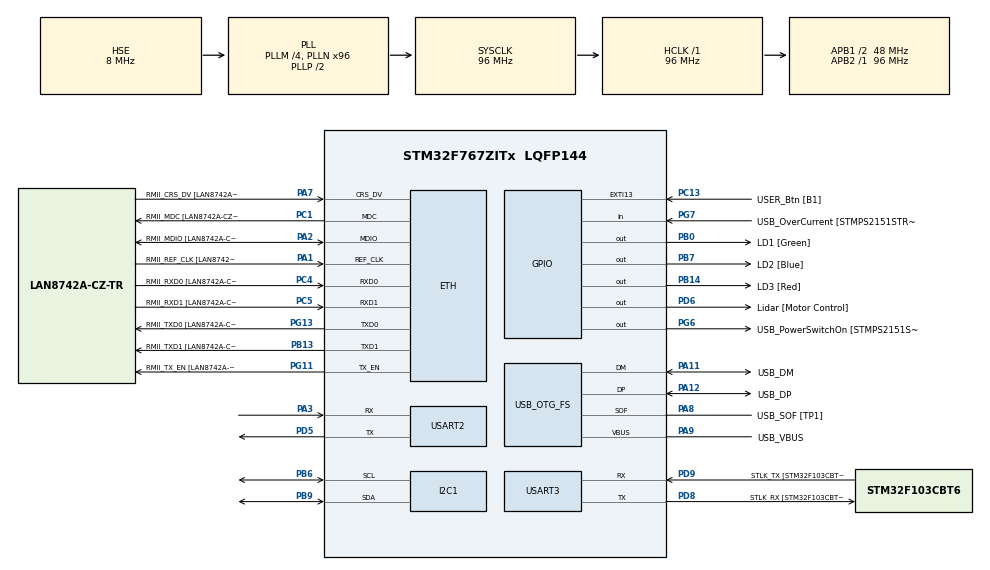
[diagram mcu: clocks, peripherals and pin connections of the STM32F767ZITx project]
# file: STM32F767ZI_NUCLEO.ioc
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ETH.MediaInterface=ETH_MEDIA_INTERFACE_RMII
ETH.PHY_Name=LAN8742A_PHY_ADDRESS
ETH.PHY_Value=0
ETH.PhyAddress=0
I2C1.Timing=0x20303E5D
Mcu.Family=STM32F7
Mcu.Name=STM32F767ZITx
Mcu.Package=LQFP144
NVIC.EXTI15_10_IRQn=true\:0\:0\:false\:false\:true\:true\:true
NVIC.I2C1_ER_IRQn=true\:0\:0\:false\:false\:true\:true\:true
NVIC.I2C1_EV_IRQn=true\:0\:0\:false\:false\:true\:true\:true
NVIC.PriorityGroup=NVIC_PRIORITYGROUP_4
NVIC.TIM1_UP_TIM10_IRQn=true\:0\:0\:false\:false\:true\:true\:true
NVIC.TIM3_IRQn=true\:0\:0\:false\:false\:true\:true\:true
NVIC.TIM4_IRQn=true\:0\:0\:false\:false\:true\:true\:true
NVIC.TIM6_DAC_IRQn=true\:0\:0\:false\:false\:true\:false\:true
NVIC.TIM7_IRQn=true\:0\:0\:false\:false\:true\:true\:true
NVIC.TimeBase=TIM6_DAC_IRQn
NVIC.TimeBaseIP=TIM6
NVIC.USART2_IRQn=true\:0\:0\:false\:false\:true\:true\:true
NVIC.USART3_IRQn=true\:0\:0\:false\:false\:true\:true\:true
PA1.GPIO_Label=RMII_REF_CLK [LAN8742A-CZ-TR_REFCLK0]
PA1.Mode=RMII
PA1.Signal=ETH_REF_CLK
PA10.GPIO_Label=USB_ID
PA10.Signal=USB_OTG_FS_ID
PA11.GPIO_Label=USB_DM
PA11.Mode=Device_Only
PA11.Signal=USB_OTG_FS_DM
PA12.GPIO_Label=USB_DP
PA12.Mode=Device_Only
PA12.Signal=USB_OTG_FS_DP
PA13.GPIO_Label=TMS
PA13.Mode=Serial_Wire
PA13.Signal=SYS_JTMS-SWDIO
PA14.GPIO_Label=TCK
PA14.Mode=Serial_Wire
PA14.Signal=SYS_JTCK-SWCLK
PA2.GPIO_Label=RMII_MDIO [LAN8742A-CZ-TR_MDIO]
PA2.Mode=RMII
PA2.Signal=ETH_MDIO
PA3.Mode=Asynchronous
PA3.Signal=USART2_RX
PA7.GPIO_Label=RMII_CRS_DV [LAN8742A-CZ-TR_CRS_DV]
PA7.Mode=RMII
PA7.Signal=ETH_CRS_DV
PA8.GPIO_Label=USB_SOF [TP1]
PA8.Mode=Activate_SOF_FS
PA8.Signal=USB_OTG_FS_SOF
PA9.GPIO_Label=USB_VBUS
PA9.Mode=Activate_VBUS
PA9.Signal=USB_OTG_FS_VBUS
PB0.GPIO_Label=LD1 [Green]
PB0.Signal=GPIO_Output
PB13.GPIO_Label=RMII_TXD1 [LAN8742A-CZ-TR_TXD1]
PB13.Mode=RMII
PB13.Signal=ETH_TXD1
PB14.GPIO_Label=LD3 [Red]
PB14.Signal=GPIO_Output
PB3.GPIO_Label=SWO
PB3.Signal=SYS_JTDO-SWO
PB6.Mode=I2C
PB6.Signal=I2C1_SCL
PB7.GPIO_Label=LD2 [Blue]
PB7.Signal=GPIO_Output
PB9.Mode=I2C
PB9.Signal=I2C1_SDA
PC1.GPIO_Label=RMII_MDC [LAN8742A-CZ-TR_MDC]
PC1.Mode=RMII
PC1.Signal=ETH_MDC
PC13.GPIO_Label=USER_Btn [B1]
PC13.Signal=GPXTI13
PC14/OSC32_IN.Mode=LSE-External-Oscillator
PC14/OSC32_IN.Signal=RCC_OSC32_IN
PC15/OSC32_OUT.Mode=LSE-External-Oscillator
PC15/OSC32_OUT.Signal=RCC_OSC32_OUT
PC4.GPIO_Label=RMII_RXD0 [LAN8742A-CZ-TR_RXD0]
PC4.Mode=RMII
PC4.Signal=ETH_RXD0
PC5.GPIO_Label=RMII_RXD1 [LAN8742A-CZ-TR_RXD1]
PC5.Mode=RMII
PC5.Signal=ETH_RXD1
PD5.Mode=Asynchronous
PD5.Signal=USART2_TX
PD6.GPIO_Label=Lidar [Motor Control]
PD6.Signal=GPIO_Output
PD8.GPIO_Label=STLK_RX [STM32F103CBT6_PA3]
PD8.Mode=Asynchronous
PD8.Signal=USART3_TX
PD9.GPIO_Label=STLK_TX [STM32F103CBT6_PA2]
PD9.Mode=Asynchronous
PD9.Signal=USART3_RX
PG11.GPIO_Label=RMII_TX_EN [LAN8742A-CZ-TR_TXEN]
PG11.Mode=RMII
PG11.Signal=ETH_TX_EN
PG13.GPIO_Label=RMII_TXD0 [LAN8742A-CZ-TR_TXD0]
PG13.Mode=RMII
PG13.Signal=ETH_TXD0
PG6.GPIO_Label=USB_PowerSwitchOn [STMPS2151STR_EN]
PG6.Signal=GPIO_Output
PG7.GPIO_Label=USB_OverCurrent [STMPS2151STR_FAULT]
PG7.Signal=GPIO_Input
PH0/OSC_IN.GPIO_Label=MCO [STM32F103CBT6_PA8]
PH0/OSC_IN.Mode=HSE-External-Clock-Source
PH0/OSC_IN.Signal=RCC_OSC_IN
PH1/OSC_OUT.Mode=HSE-External-Clock-Source
PH1/OSC_OUT.Signal=RCC_OSC_OUT
ProjectManager.HeapSize=0x200
ProjectManager.StackSize=0x400
ProjectManager.TargetToolchain=SW4STM32
RCC.48MHZClocksFreq_Value=24000000
RCC.AHBFreq_Value=96000000
RCC.APB1CLKDivider=RCC_HCLK_DIV2
RCC.APB1Freq_Value=48000000
RCC.APB1TimFreq_Value=96000000
RCC.APB2Freq_Value=96000000
RCC.APB2TimFreq_Value=96000000
RCC.CortexFreq_Value=96000000
RCC.HCLKFreq_Value=96000000
RCC.HSE_VALUE=8000000
RCC.HSI_VALUE=16000000
RCC.PLLM=4
RCC.PLLMUL=RCC_PLL_MUL9
RCC.PLLN=96
RCC.PLLQ=4
RCC.PRESCALERUSB=RCC_USBCLKSOURCE_PLL_DIV1_5
RCC.SYSCLKFreq_VALUE=96000000
RCC.SYSCLKSource=RCC_SYSCLKSOURCE_PLLCLK
RCC.SYSCLKSourceVirtual=RCC_SYSCLKSOURCE_PLLCLK
RCC.USBFreq_Value=48000000
RCC.VCOOutputFreq_Value=192000000
TIM1.Period=2500-1
TIM1.Prescaler=9600-1
TIM3.Period=10000-1
TIM3.Prescaler=9600-1
TIM4.Period=5000-1
TIM4.Prescaler=9600-1
TIM7.Period=500-1
TIM7.Prescaler=9600-1
USART2.VirtualMode-Asynchronous=VM_ASYNC
USART3.VirtualMode-Asynchronous=VM_ASYNC
USB_OTG_FS.VirtualMode=Device_Only
VP_SYS_VS_tim6.Mode=TIM6
VP_TIM1_VS_ClockSourceINT.Mode=Internal
VP_TIM3_VS_ClockSourceINT.Mode=Internal
VP_TIM4_VS_ClockSourceINT.Mode=Internal
VP_TIM7_VS_ClockSourceINT.Mode=Enable_Timer
board=NUCLEO-F767ZI

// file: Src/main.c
/* USER CODE BEGIN Header */
/**
  ******************************************************************************
  * @file           : main.c
  * @brief          : Main program body
  ******************************************************************************
  * @attention
  *
  * <h2><center>&copy; Copyright (c) 2019 STMicroelectronics.
  * All rights reserved.</center></h2>
  *
  * This software component is licensed by ST under BSD 3-Clause license,
  * the "License"; You may not use this file except in compliance with the
  * License. You may obtain a copy of the License at:
  *                        opensource.org/licenses/BSD-3-Clause
  *
  ******************************************************************************
  */
/* USER CODE END Header */

#include "main.h"

ETH_HandleTypeDef heth;

I2C_HandleTypeDef hi2c1;

TIM_HandleTypeDef htim1;
TIM_HandleTypeDef htim3;
TIM_HandleTypeDef htim4;
TIM_HandleTypeDef htim7;

UART_HandleTypeDef huart2;
UART_HandleTypeDef huart3;

PCD_HandleTypeDef hpcd_USB_OTG_FS;

void SystemClock_Config(void);
static void MX_GPIO_Init(void);
static void MX_I2C1_Init(void);
static void MX_USART2_UART_Init(void);
static void MX_USART3_UART_Init(void);
static void MX_USB_OTG_FS_PCD_Init(void);
static void MX_ETH_Init(void);
static void MX_TIM1_Init(void);
static void MX_TIM3_Init(void);
static void MX_TIM4_Init(void);
static void MX_TIM7_Init(void);

/* USER CODE BEGIN 0 */
// Redirect printf to USART3
int __io_putchar(int ch){
	HAL_UART_Transmit(&huart3, (uint8_t *)&ch, 1, 0xFFFF);
	return ch;
}
/* USER CODE END 0 */

int main(void)
{

  /* MCU Configuration--------------------------------------------------------*/

  /* Reset of all peripherals, Initializes the Flash interface and the Systick. */
  HAL_Init();

  /* Configure the system clock */
  SystemClock_Config();

  /* Initialize all configured peripherals */
  MX_GPIO_Init();
  MX_I2C1_Init();
  MX_USART2_UART_Init();
  MX_USART3_UART_Init();
  MX_USB_OTG_FS_PCD_Init();
  MX_ETH_Init();
  MX_TIM1_Init();
  MX_TIM3_Init();
  MX_TIM4_Init();
  MX_TIM7_Init();
  /* USER CODE BEGIN 2 */

  HAL_TIM_Base_Start_IT(&htim1);
  HAL_TIM_Base_Start_IT(&htim3);
  HAL_TIM_Base_Start_IT(&htim4);
  HAL_TIM_Base_Start_IT(&htim7);

  cmdLineInit();
  uart2InitReception();
  mainAppInit();

  print2Console("HELLO WORLD!\r\n");

  /* USER CODE END 2 */

  /* Infinite loop */
  while (1)
  {
	  mainAppTask();
  }
}

void SystemClock_Config(void)
{
  RCC_OscInitTypeDef RCC_OscInitStruct = {0};
  RCC_ClkInitTypeDef RCC_ClkInitStruct = {0};
  RCC_PeriphCLKInitTypeDef PeriphClkInitStruct = {0};

  /** Configure LSE Drive Capability
  */
  HAL_PWR_EnableBkUpAccess();
  /** Configure the main internal regulator output voltage
  */
  __HAL_RCC_PWR_CLK_ENABLE();
  __HAL_PWR_VOLTAGESCALING_CONFIG(PWR_REGULATOR_VOLTAGE_SCALE3);
  /** Initializes the CPU, AHB and APB busses clocks
  */
  RCC_OscInitStruct.OscillatorType = RCC_OSCILLATORTYPE_HSE;
  RCC_OscInitStruct.HSEState = RCC_HSE_BYPASS;
  RCC_OscInitStruct.PLL.PLLState = RCC_PLL_ON;
  RCC_OscInitStruct.PLL.PLLSource = RCC_PLLSOURCE_HSE;
  RCC_OscInitStruct.PLL.PLLM = 4;
  RCC_OscInitStruct.PLL.PLLN = 96;
  RCC_OscInitStruct.PLL.PLLP = RCC_PLLP_DIV2;
  RCC_OscInitStruct.PLL.PLLQ = 4;
  if (HAL_RCC_OscConfig(&RCC_OscInitStruct) != HAL_OK)
  {
    Error_Handler();
  }
  /** Activate the Over-Drive mode
  */
  if (HAL_PWREx_EnableOverDrive() != HAL_OK)
  {
    Error_Handler();
  }
  /** Initializes the CPU, AHB and APB busses clocks
  */
  RCC_ClkInitStruct.ClockType = RCC_CLOCKTYPE_HCLK|RCC_CLOCKTYPE_SYSCLK
                              |RCC_CLOCKTYPE_PCLK1|RCC_CLOCKTYPE_PCLK2;
  RCC_ClkInitStruct.SYSCLKSource = RCC_SYSCLKSOURCE_PLLCLK;
  RCC_ClkInitStruct.AHBCLKDivider = RCC_SYSCLK_DIV1;
  RCC_ClkInitStruct.APB1CLKDivider = RCC_HCLK_DIV2;
  RCC_ClkInitStruct.APB2CLKDivider = RCC_HCLK_DIV1;

  if (HAL_RCC_ClockConfig(&RCC_ClkInitStruct, FLASH_LATENCY_3) != HAL_OK)
  {
    Error_Handler();
  }
  PeriphClkInitStruct.PeriphClockSelection = RCC_PERIPHCLK_USART2|RCC_PERIPHCLK_USART3
                              |RCC_PERIPHCLK_I2C1|RCC_PERIPHCLK_CLK48;
  PeriphClkInitStruct.Usart2ClockSelection = RCC_USART2CLKSOURCE_PCLK1;
  PeriphClkInitStruct.Usart3ClockSelection = RCC_USART3CLKSOURCE_PCLK1;
  PeriphClkInitStruct.I2c1ClockSelection = RCC_I2C1CLKSOURCE_PCLK1;
  PeriphClkInitStruct.Clk48ClockSelection = RCC_CLK48SOURCE_PLL;
  if (HAL_RCCEx_PeriphCLKConfig(&PeriphClkInitStruct) != HAL_OK)
  {
    Error_Handler();
  }
}

static void MX_ETH_Init(void)
{

   uint8_t MACAddr[6] ;

  heth.Instance = ETH;
  heth.Init.AutoNegotiation = ETH_AUTONEGOTIATION_ENABLE;
  heth.Init.PhyAddress = LAN8742A_PHY_ADDRESS;
  MACAddr[0] = 0x00;
  MACAddr[1] = 0x80;
  MACAddr[2] = 0xE1;
  MACAddr[3] = 0x00;
  MACAddr[4] = 0x00;
  MACAddr[5] = 0x00;
  heth.Init.MACAddr = &MACAddr[0];
  heth.Init.RxMode = ETH_RXPOLLING_MODE;
  heth.Init.ChecksumMode = ETH_CHECKSUM_BY_HARDWARE;
  heth.Init.MediaInterface = ETH_MEDIA_INTERFACE_RMII;

  if (HAL_ETH_Init(&heth) != HAL_OK)
  {
    Error_Handler();
  }

}

static void MX_I2C1_Init(void)
{

  hi2c1.Instance = I2C1;
  hi2c1.Init.Timing = 0x20303E5D;
  hi2c1.Init.OwnAddress1 = 0;
  hi2c1.Init.AddressingMode = I2C_ADDRESSINGMODE_7BIT;
  hi2c1.Init.DualAddressMode = I2C_DUALADDRESS_DISABLE;
  hi2c1.Init.OwnAddress2 = 0;
  hi2c1.Init.OwnAddress2Masks = I2C_OA2_NOMASK;
  hi2c1.Init.GeneralCallMode = I2C_GENERALCALL_DISABLE;
  hi2c1.Init.NoStretchMode = I2C_NOSTRETCH_DISABLE;
  if (HAL_I2C_Init(&hi2c1) != HAL_OK)
  {
    Error_Handler();
  }
  /** Configure Analogue filter
  */
  if (HAL_I2CEx_ConfigAnalogFilter(&hi2c1, I2C_ANALOGFILTER_ENABLE) != HAL_OK)
  {
    Error_Handler();
  }
  /** Configure Digital filter
  */
  if (HAL_I2CEx_ConfigDigitalFilter(&hi2c1, 0) != HAL_OK)
  {
    Error_Handler();
  }

}

static void MX_TIM1_Init(void)
{

  TIM_ClockConfigTypeDef sClockSourceConfig = {0};
  TIM_MasterConfigTypeDef sMasterConfig = {0};

  htim1.Instance = TIM1;
  htim1.Init.Prescaler = 9600-1;
  htim1.Init.CounterMode = TIM_COUNTERMODE_UP;
  htim1.Init.Period = 500-1;
  htim1.Init.ClockDivision = TIM_CLOCKDIVISION_DIV1;
  htim1.Init.RepetitionCounter = 0;
  htim1.Init.AutoReloadPreload = TIM_AUTORELOAD_PRELOAD_DISABLE;
  if (HAL_TIM_Base_Init(&htim1) != HAL_OK)
  {
    Error_Handler();
  }
  sClockSourceConfig.ClockSource = TIM_CLOCKSOURCE_INTERNAL;
  if (HAL_TIM_ConfigClockSource(&htim1, &sClockSourceConfig) != HAL_OK)
  {
    Error_Handler();
  }
  sMasterConfig.MasterOutputTrigger = TIM_TRGO_RESET;
  sMasterConfig.MasterOutputTrigger2 = TIM_TRGO2_RESET;
  sMasterConfig.MasterSlaveMode = TIM_MASTERSLAVEMODE_DISABLE;
  if (HAL_TIMEx_MasterConfigSynchronization(&htim1, &sMasterConfig) != HAL_OK)
  {
    Error_Handler();
  }

}

static void MX_TIM3_Init(void)
{

  TIM_ClockConfigTypeDef sClockSourceConfig = {0};
  TIM_MasterConfigTypeDef sMasterConfig = {0};

  htim3.Instance = TIM3;
  htim3.Init.Prescaler = 9600-1;
  htim3.Init.CounterMode = TIM_COUNTERMODE_UP;
  htim3.Init.Period = 10000-1;
  htim3.Init.ClockDivision = TIM_CLOCKDIVISION_DIV1;
  htim3.Init.AutoReloadPreload = TIM_AUTORELOAD_PRELOAD_DISABLE;
  if (HAL_TIM_Base_Init(&htim3) != HAL_OK)
  {
    Error_Handler();
  }
  sClockSourceConfig.ClockSource = TIM_CLOCKSOURCE_INTERNAL;
  if (HAL_TIM_ConfigClockSource(&htim3, &sClockSourceConfig) != HAL_OK)
  {
    Error_Handler();
  }
  sMasterConfig.MasterOutputTrigger = TIM_TRGO_RESET;
  sMasterConfig.MasterSlaveMode = TIM_MASTERSLAVEMODE_DISABLE;
  if (HAL_TIMEx_MasterConfigSynchronization(&htim3, &sMasterConfig) != HAL_OK)
  {
    Error_Handler();
  }

}

static void MX_TIM4_Init(void)
{

  TIM_ClockConfigTypeDef sClockSourceConfig = {0};
  TIM_MasterConfigTypeDef sMasterConfig = {0};

  htim4.Instance = TIM4;
  htim4.Init.Prescaler = 9600-1;
  htim4.Init.CounterMode = TIM_COUNTERMODE_UP;
  htim4.Init.Period = 5000-1;
  htim4.Init.ClockDivision = TIM_CLOCKDIVISION_DIV1;
  htim4.Init.AutoReloadPreload = TIM_AUTORELOAD_PRELOAD_DISABLE;
  if (HAL_TIM_Base_Init(&htim4) != HAL_OK)
  {
    Error_Handler();
  }
  sClockSourceConfig.ClockSource = TIM_CLOCKSOURCE_INTERNAL;
  if (HAL_TIM_ConfigClockSource(&htim4, &sClockSourceConfig) != HAL_OK)
  {
    Error_Handler();
  }
  sMasterConfig.MasterOutputTrigger = TIM_TRGO_RESET;
  sMasterConfig.MasterSlaveMode = TIM_MASTERSLAVEMODE_DISABLE;
  if (HAL_TIMEx_MasterConfigSynchronization(&htim4, &sMasterConfig) != HAL_OK)
  {
    Error_Handler();
  }

}

static void MX_TIM7_Init(void)
{

  TIM_MasterConfigTypeDef sMasterConfig = {0};

  htim7.Instance = TIM7;
  htim7.Init.Prescaler = 9600-1;
  htim7.Init.CounterMode = TIM_COUNTERMODE_UP;
  htim7.Init.Period = 500-1;
  htim7.Init.AutoReloadPreload = TIM_AUTORELOAD_PRELOAD_DISABLE;
  if (HAL_TIM_Base_Init(&htim7) != HAL_OK)
  {
    Error_Handler();
  }
  sMasterConfig.MasterOutputTrigger = TIM_TRGO_RESET;
  sMasterConfig.MasterSlaveMode = TIM_MASTERSLAVEMODE_DISABLE;
  if (HAL_TIMEx_MasterConfigSynchronization(&htim7, &sMasterConfig) != HAL_OK)
  {
    Error_Handler();
  }

}

static void MX_USART2_UART_Init(void)
{

  huart2.Instance = USART2;
  huart2.Init.BaudRate = 115200;
  huart2.Init.WordLength = UART_WORDLENGTH_8B;
  huart2.Init.StopBits = UART_STOPBITS_1;
  huart2.Init.Parity = UART_PARITY_NONE;
  huart2.Init.Mode = UART_MODE_TX_RX;
  huart2.Init.HwFlowCtl = UART_HWCONTROL_NONE;
  huart2.Init.OverSampling = UART_OVERSAMPLING_16;
  huart2.Init.OneBitSampling = UART_ONE_BIT_SAMPLE_DISABLE;
  huart2.AdvancedInit.AdvFeatureInit = UART_ADVFEATURE_NO_INIT;
  if (HAL_UART_Init(&huart2) != HAL_OK)
  {
    Error_Handler();
  }

}

static void MX_USART3_UART_Init(void)
{

  huart3.Instance = USART3;
  huart3.Init.BaudRate = 115200;
  huart3.Init.WordLength = UART_WORDLENGTH_8B;
  huart3.Init.StopBits = UART_STOPBITS_1;
  huart3.Init.Parity = UART_PARITY_NONE;
  huart3.Init.Mode = UART_MODE_TX_RX;
  huart3.Init.HwFlowCtl = UART_HWCONTROL_NONE;
  huart3.Init.OverSampling = UART_OVERSAMPLING_16;
  huart3.Init.OneBitSampling = UART_ONE_BIT_SAMPLE_DISABLE;
  huart3.AdvancedInit.AdvFeatureInit = UART_ADVFEATURE_NO_INIT;
  if (HAL_UART_Init(&huart3) != HAL_OK)
  {
    Error_Handler();
  }

}

static void MX_USB_OTG_FS_PCD_Init(void)
{

  hpcd_USB_OTG_FS.Instance = USB_OTG_FS;
  hpcd_USB_OTG_FS.Init.dev_endpoints = 6;
  hpcd_USB_OTG_FS.Init.speed = PCD_SPEED_FULL;
  hpcd_USB_OTG_FS.Init.dma_enable = DISABLE;
  hpcd_USB_OTG_FS.Init.phy_itface = PCD_PHY_EMBEDDED;
  hpcd_USB_OTG_FS.Init.Sof_enable = ENABLE;
  hpcd_USB_OTG_FS.Init.low_power_enable = DISABLE;
  hpcd_USB_OTG_FS.Init.lpm_enable = DISABLE;
  hpcd_USB_OTG_FS.Init.vbus_sensing_enable = ENABLE;
  hpcd_USB_OTG_FS.Init.use_dedicated_ep1 = DISABLE;
  if (HAL_PCD_Init(&hpcd_USB_OTG_FS) != HAL_OK)
  {
    Error_Handler();
  }

}

static void MX_GPIO_Init(void)
{
  GPIO_InitTypeDef GPIO_InitStruct = {0};

  /* GPIO Ports Clock Enable */
  __HAL_RCC_GPIOC_CLK_ENABLE();
  __HAL_RCC_GPIOH_CLK_ENABLE();
  __HAL_RCC_GPIOA_CLK_ENABLE();
  __HAL_RCC_GPIOB_CLK_ENABLE();
  __HAL_RCC_GPIOD_CLK_ENABLE();
  __HAL_RCC_GPIOG_CLK_ENABLE();

  /*Configure GPIO pin Output Level */
  HAL_GPIO_WritePin(GPIOB, LD1_Pin|LD3_Pin|LD2_Pin, GPIO_PIN_RESET);

  /*Configure GPIO pin Output Level */
  HAL_GPIO_WritePin(USB_PowerSwitchOn_GPIO_Port, USB_PowerSwitchOn_Pin, GPIO_PIN_RESET);

  /*Configure GPIO pin Output Level */
  HAL_GPIO_WritePin(Lidar_GPIO_Port, Lidar_Pin, GPIO_PIN_RESET);

  /*Configure GPIO pin : USER_Btn_Pin */
  GPIO_InitStruct.Pin = USER_Btn_Pin;
  GPIO_InitStruct.Mode = GPIO_MODE_IT_RISING;
  GPIO_InitStruct.Pull = GPIO_NOPULL;
  HAL_GPIO_Init(USER_Btn_GPIO_Port, &GPIO_InitStruct);

  /*Configure GPIO pins : LD1_Pin LD3_Pin LD2_Pin */
  GPIO_InitStruct.Pin = LD1_Pin|LD3_Pin|LD2_Pin;
  GPIO_InitStruct.Mode = GPIO_MODE_OUTPUT_PP;
  GPIO_InitStruct.Pull = GPIO_NOPULL;
  GPIO_InitStruct.Speed = GPIO_SPEED_FREQ_LOW;
  HAL_GPIO_Init(GPIOB, &GPIO_InitStruct);

  /*Configure GPIO pin : USB_PowerSwitchOn_Pin */
  GPIO_InitStruct.Pin = USB_PowerSwitchOn_Pin;
  GPIO_InitStruct.Mode = GPIO_MODE_OUTPUT_PP;
  GPIO_InitStruct.Pull = GPIO_NOPULL;
  GPIO_InitStruct.Speed = GPIO_SPEED_FREQ_LOW;
  HAL_GPIO_Init(USB_PowerSwitchOn_GPIO_Port, &GPIO_InitStruct);

  /*Configure GPIO pin : USB_OverCurrent_Pin */
  GPIO_InitStruct.Pin = USB_OverCurrent_Pin;
  GPIO_InitStruct.Mode = GPIO_MODE_INPUT;
  GPIO_InitStruct.Pull = GPIO_NOPULL;
  HAL_GPIO_Init(USB_OverCurrent_GPIO_Port, &GPIO_InitStruct);

  /*Configure GPIO pin : Lidar_Pin */
  GPIO_InitStruct.Pin = Lidar_Pin;
  GPIO_InitStruct.Mode = GPIO_MODE_OUTPUT_PP;
  GPIO_InitStruct.Pull = GPIO_NOPULL;
  GPIO_InitStruct.Speed = GPIO_SPEED_FREQ_LOW;
  HAL_GPIO_Init(Lidar_GPIO_Port, &GPIO_InitStruct);

  /* EXTI interrupt init*/
  HAL_NVIC_SetPriority(EXTI15_10_IRQn, 0, 0);
  HAL_NVIC_EnableIRQ(EXTI15_10_IRQn);

}

void HAL_TIM_PeriodElapsedCallback(TIM_HandleTypeDef *htim)
{
  if (htim->Instance == TIM6) {
    HAL_IncTick();
  }
  /* USER CODE BEGIN Callback 1 */

  if (htim->Instance == TIM1) {
	  uart2Task();				// .25s
  }

  if (htim->Instance == TIM3) {
	  heartbeatCB();				// 1s
  }

  if (htim->Instance == TIM4) {
	  printInfoTask();				// .5s
  }

  if (htim->Instance == TIM7) {
	  cmdLineTask();				// .05s
  }
  /* USER CODE END Callback 1 */
}

void Error_Handler(void)
{
}

/************************ (C) COPYRIGHT STMicroelectronics *****END OF FILE****/
